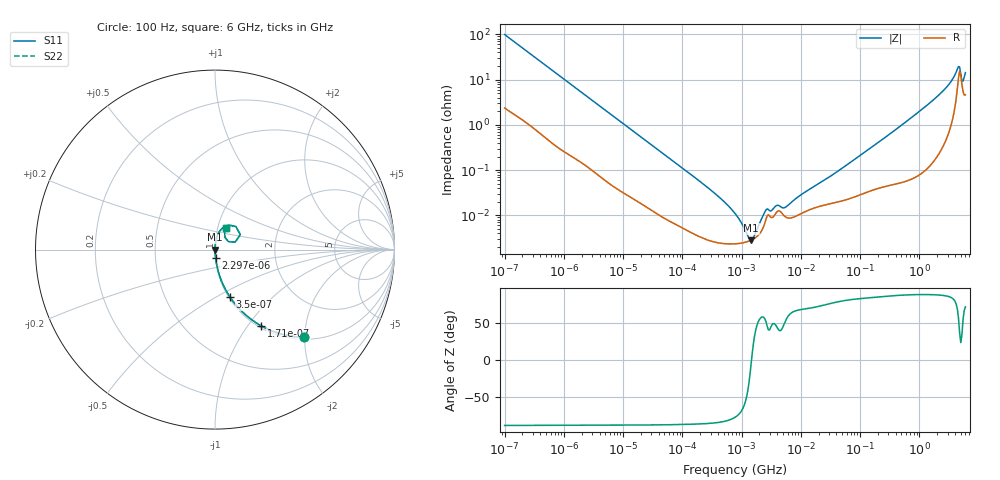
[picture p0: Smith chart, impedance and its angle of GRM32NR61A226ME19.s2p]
!Murata Part Number: GRM32NR61A226ME19
!These Parameters are Measured in Series Mode Connection
!Data Generated on Mar 30, 2021
!  o--ll--o
!Port1  Port2
!  o------o
!Operation Temp=25[degC], DC Bias Voltage=0[V]
!Freq. Start=100[Hz] Stop=6[GHz] 401[Steps]
# Hz S RI R 50
!Freq.(Hz) S11(Real) S11(Imag) S21(Real) S21(Imag) S12(Real) S12(Imag) S22(Real) S22(Imag)
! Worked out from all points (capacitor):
!   401 points, 100 Hz to 6 GHz, reference 50 ohm
!   read as one part in series: C = 16 uF near 109 Hz
!   lowest |Z| = 2.84 mohm at 1.45 MHz (marker M1)
!   series resonance near 1.474 MHz, so ESL is about 730 pH
!   S11 on the Smith chart (normalised r, x): 100 Hz: 1.05, -1.98; 171 Hz: 1.03, -1.17; 350 Hz: 1.01, -0.58; 2.297 kHz: 1.00, -0.09; 6 GHz: 1.09, +0.27
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100  0.495 -0.4882  0.505 0.4882  0.505 0.4882  0.495 -0.4882
171  0.259 -0.4257  0.741 0.4257  0.741 0.4257  0.259 -0.4257
350  0.0826 -0.2627  0.9174 0.2627  0.9174 0.2627  0.0826 -0.2627
784  0.0197 -0.1274  0.9803 0.1274  0.9803 0.1274  0.0197 -0.1274
2008  0.00409 -0.0514  0.9959 0.0514  0.9959 0.0514  0.00409 -0.0514
2297  0.00332 -0.0451  0.9967 0.0451  0.9967 0.0451  0.00332 -0.0451
40335  0.000109 -0.00272  0.9999 0.00272  0.9999 0.00272  0.000109 -0.00272
316350  2.68e-05 -0.000345  1 0.000345  1 0.000345  2.68e-05 -0.000345
774597  2.36e-05 -0.000108  1 0.000108  1 0.000108  2.36e-05 -0.000108
885955  2.39e-05 -8.39e-05  1 8.39e-05  1 8.39e-05  2.39e-05 -8.39e-05
1449809  2.83e-05 -2.7e-06  1 2.7e-06  1 2.7e-06  2.83e-05 -2.7e-06
2169299  4.53e-05 7.03e-05  1 -7.03e-05  1 -7.03e-05  4.53e-05 7.03e-05
2594782  8.42e-05 0.000103  0.9999 -0.000103  0.9999 -0.000103  8.42e-05 0.000103
4060267  0.000124 0.000113  0.9999 -0.000113  0.9999 -0.000113  0.000124 0.000113
5554849  9.21e-05 0.000122  0.9999 -0.000122  0.9999 -0.000122  9.21e-05 0.000122
1.555665e7  0.000141 0.000385  0.9999 -0.000385  0.9999 -0.000385  0.000141 0.000385
3.124326e8  0.000495 0.00616  0.9995 -0.00616  0.9995 -0.00616  0.000495 0.00616
2.142435e9  0.00434 0.0454  0.9957 -0.0454  0.9957 -0.0454  0.00434 0.0454
3.205649e9  0.0134 0.0782  0.9866 -0.0782  0.9866 -0.0782  0.0134 0.0782
4.385646e9  0.079 0.1365  0.921 -0.1365  0.921 -0.1365  0.079 0.1365
5.486059e9  0.056 0.0677  0.944 -0.0677  0.944 -0.0677  0.056 0.0677
6e9  0.0597 0.1211  0.9403 -0.1211  0.9403 -0.1211  0.0597 0.1211
